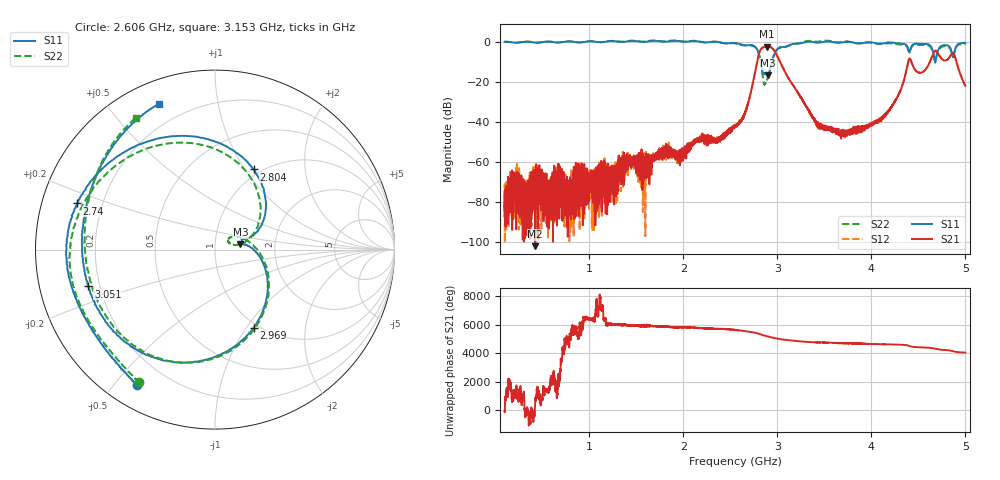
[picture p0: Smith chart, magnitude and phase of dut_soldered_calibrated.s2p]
!Keysight Technologies N9917A: A.13.25
!Date: Thursday, 15 October 2026 16:14:01
!Timezone: (UTC-08:00) Pacific Time (US & Canada)
!Model: N9917A
!Serial: MY56072049
!GPS Latitude:
!GPS Longitude:
!GPS TimeStamp: 0001-01-01 00:00:00Z
!GPS Seconds Since Last Read: 0
!CHECKSUM:1659833657
!Correction: S11(ON U)S21(ON U)S12(ON U)S22(ON U)
!S2P File: Measurements:S11,S21,S12,S22:
# Hz S DB R 50
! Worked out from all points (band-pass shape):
!   10001 points, 100 MHz to 5 GHz, reference 50 ohm
!   highest |S21| = -2.38 dB at 2.893 GHz (marker M1); lowest = -102.3 dB at 425.9 MHz (marker M2)
!   |S21| within 3 dB of the highest: 2.809 GHz to 2.98 GHz (171.2 MHz wide, 5.92 % of centre); 4.662 GHz to 4.703 GHz (41.25 MHz wide, 0.881 % of centre)
!   lowest |S11| = -16.8 dB at 2.899 GHz (marker M3), VSWR 1.34, Z = 66.4 + j4.07 ohm
!   |S11| at or under -10 dB: 2.821 GHz to 2.945 GHz (123.4 MHz wide, 4.28 % of centre); 4.674493 GHz to 4.682526 GHz (8.033 MHz wide, 0.172 % of centre)
!   |S22| runs from -21.4 to 0.7 dB; largest |S21 - S12| = 0.0035
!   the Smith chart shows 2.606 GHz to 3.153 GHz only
!   S11 on the Smith chart (normalised r, x): 2.606 GHz: 0.09, -0.58; 2.74 GHz: 0.11, +0.16; 2.804 GHz: 0.92, +1.10; 2.969 GHz: 0.95, -1.08; 3.051 GHz: 0.16, -0.14; 3.153 GHz: 0.10, +0.68
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1e8  0.05 171.0  -79.05 -61.2  -81.35 -50.7  0.04 171.2
4.2585e8  -0.38 143.1  -102.33 -123.0  -64.55 139.7  -0.32 143.9
9.1683e8  -0.26 99.4  -66.78 -44.2  -71.35 -10.1  -0.18 100.9
1.73366e9  0.38 25.9  -57.30 127.0  -57.38 157.0  0.50 25.3
2.14281e9  0.35 -21.8  -49.43 29.9  -49.27 34.3  0.42 -24.8
2.55e9  -0.56 -101.7  -42.71 -117.9  -42.07 -118.2  -0.72 -103.2
2.60586e9  -1.21 -119.8  -40.32 -165.5  -39.58 -161.2  -1.41 -119.9
2.74012e9  -1.83 161.5  -20.63 69.9  -20.60 70.0  -2.00 169.9
2.80382e9  -6.09 64.3  -6.15 -32.4  -6.14 -32.4  -6.00 75.8
2.84204e9  -14.84 19.6  -2.92 -117.4  -2.91 -117.4  -16.47 12.8
2.89349e9  -16.70 12.3  -2.38 152.0  -2.38 152.0  -18.60 36.8
2.89888e9  -16.76 11.9  -2.40 143.1  -2.39 143.2  -17.77 34.4
2.96895e9  -6.28 -63.6  -4.51 29.4  -4.51 29.4  -5.94 -66.1
3.05078e9  -2.68 -163.8  -12.18 -68.0  -12.16 -68.0  -2.92 -158.3
3.15319e9  -1.21 110.9  -20.76 -146.0  -20.73 -145.8  -1.34 121.0
3.36683e9  -0.04 10.9  -37.19 96.6  -37.27 96.4  0.41 11.7
3.71179e9  -0.10 -73.5  -45.56 17.2  -45.18 33.0  0.11 -77.5
4.18366e9  -0.36 -140.0  -34.41 -57.1  -34.44 -57.0  -0.69 -141.4
4.4022e9  -5.24 -167.8  -8.42 -165.2  -8.40 -165.1  -5.23 -165.3
4.67856e9  -10.42 178.4  -4.43 -6.6  -4.41 -6.7  -9.44 -179.3
4.86378e9  -7.07 163.8  -5.56 -165.9  -5.54 -165.7  -7.13 168.7
5e9  -0.46 169.1  -22.05 87.6  -22.00 88.0  -1.15 168.1
